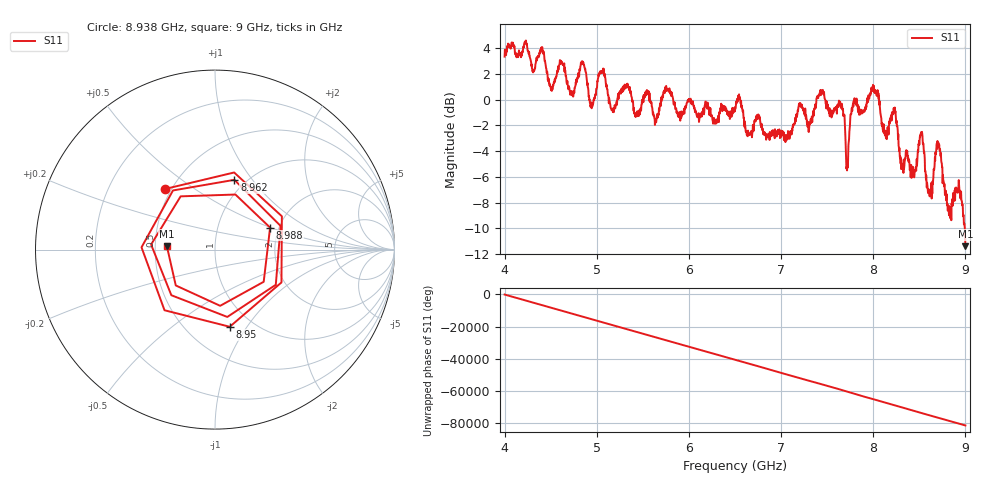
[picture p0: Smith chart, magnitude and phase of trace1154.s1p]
! Created with skrf 1.8.0 (http://scikit-rf.org).
# Hz S RI R 50.0
!freq ReS11 ImS11
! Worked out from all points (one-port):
!   1601 points, 4 GHz to 9 GHz, reference 50 ohm
!   lowest |S11| = -11.4 dB at 9 GHz (marker M1), VSWR 1.74, Z = 28.8 + j1.27 ohm
!   |S11| at or under -10 dB: 8.993517 GHz to end of sweep
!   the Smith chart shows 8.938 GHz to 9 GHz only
!   S11 on the Smith chart (normalised r, x): 8.938 GHz: 0.46, +0.39; 8.95 GHz: 0.79, -0.84; 8.962 GHz: 0.88, +0.82; 8.988 GHz: 1.80, +0.50; 9 GHz: 0.58, +0.03
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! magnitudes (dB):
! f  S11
! 4 GHz  3.4
! 4.403 GHz  4.0
! 4.506 GHz  0.8
! 4.625 GHz  2.8
! 4.731 GHz  0.3
! 4.853 GHz  2.9
! 4.944 GHz  -0.7
! 5.05 GHz  2.2
! 5.166 GHz  -0.8
! 5.25 GHz  0.5
! 5.875 GHz  -1.0
! 6.5 GHz  -0.6
! 7.125 GHz  -2.1
! 7.441 GHz  0.6
! 7.653 GHz  -0.5
! 7.719 GHz  -4.9
! 7.75 GHz  -1.5
! 8.003 GHz  1.0
! 8.375 GHz  -4.4
! 8.522 GHz  -2.5
! 8.616 GHz  -7.1
! 8.709 GHz  -3.4
! 8.822 GHz  -9.0
! 8.938 GHz  -7.2
! 8.95 GHz  -7.2
! 8.962 GHz  -7.9
! 8.988 GHz  -9.6
! 9 GHz  -11.4
